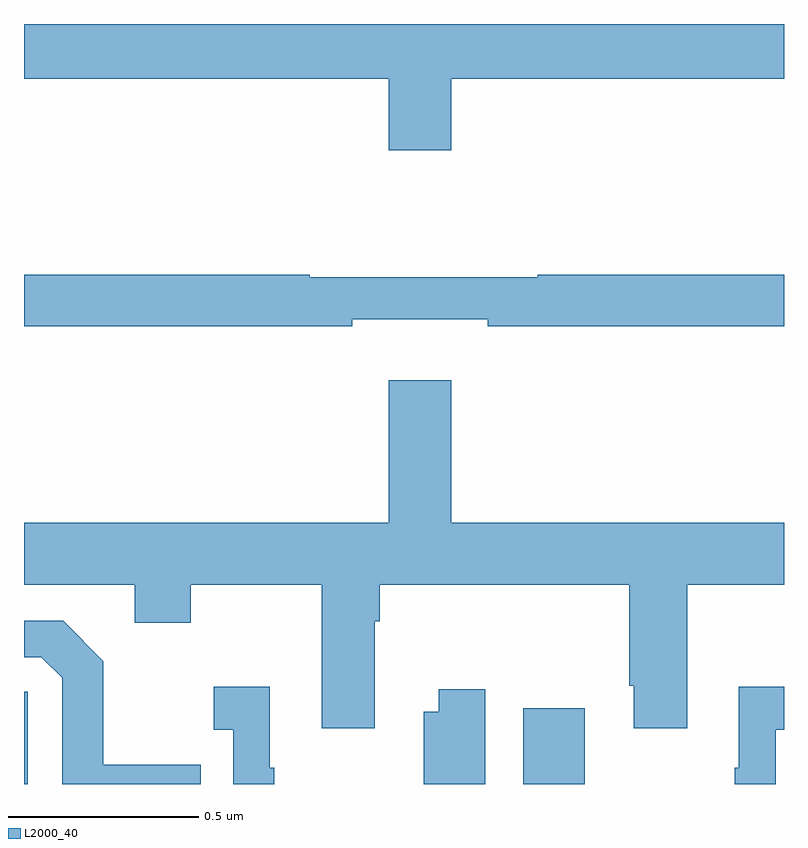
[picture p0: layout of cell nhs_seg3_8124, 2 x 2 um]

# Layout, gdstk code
import gdstk
lib = gdstk.Library(unit=1e-6, precision=1e-09)
def R(c, l, rs):  # rectangles x0, y0, x1, y1
    for r in rs: c.add(gdstk.rectangle(r[:2], r[2:], *l))
def P(c, l, *ps):  # polygons
    for p in ps: c.add(gdstk.Polygon(p, *l))
L2000_40 = (2000, 40)

nhs_seg3_8124 = lib.new_cell('nhs_seg3_8124')
R(nhs_seg3_8124, L2000_40, [(212,692.4,212.01,692.643), (213.314,692.4,213.475,692.599)])
P(nhs_seg3_8124, L2000_40, [(213.124,694.256),(214,694.256),(214,694.4),(212,694.4),(212,694.256),(212.96,694.256),(212.96,694.068),(213.124,694.068)],
  [(212.864,693.623),(213.22,693.623),(213.22,693.604),(214,693.604),(214,693.74),(213.352,693.74),(213.352,693.733),(212.752,693.733),(212.752,693.74),(212,693.74),(212,693.604),(212.864,693.604)],
  [(212.923,692.828),(212.936,692.828),(212.936,692.924),(213.593,692.924),(213.593,692.659),(213.605,692.659),(213.605,692.547),(213.745,692.547),(213.745,692.924),(214,692.924),(214,693.088),(213.124,693.088),(213.124,693.463),(212.96,693.463),(212.96,693.088),(212,693.088),(212,692.924),(212.291,692.924),(212.291,692.825),(212.439,692.825),(212.439,692.924),(212.783,692.924),(212.783,692.547),(212.923,692.547)],
  [(212.465,692.451),(212.209,692.451),(212.209,692.723),(212.103,692.829),(212,692.829),(212,692.733),(212.046,692.733),(212.1,692.679),(212.1,692.4),(212.465,692.4)],
  [(213.978,692.543),(214,692.543),(214,692.656),(213.881,692.656),(213.881,692.443),(213.87,692.443),(213.87,692.4),(213.978,692.4)],
  [(212.659,692.443),(212.647,692.443),(212.647,692.656),(212.499,692.656),(212.499,692.543),(212.55,692.543),(212.55,692.4),(212.659,692.4)],
  [(213.214,692.65),(213.092,692.65),(213.092,692.59),(213.052,692.59),(213.052,692.4),(213.214,692.4)])

lib.write_gds('nhs_seg3_8124.gds')
